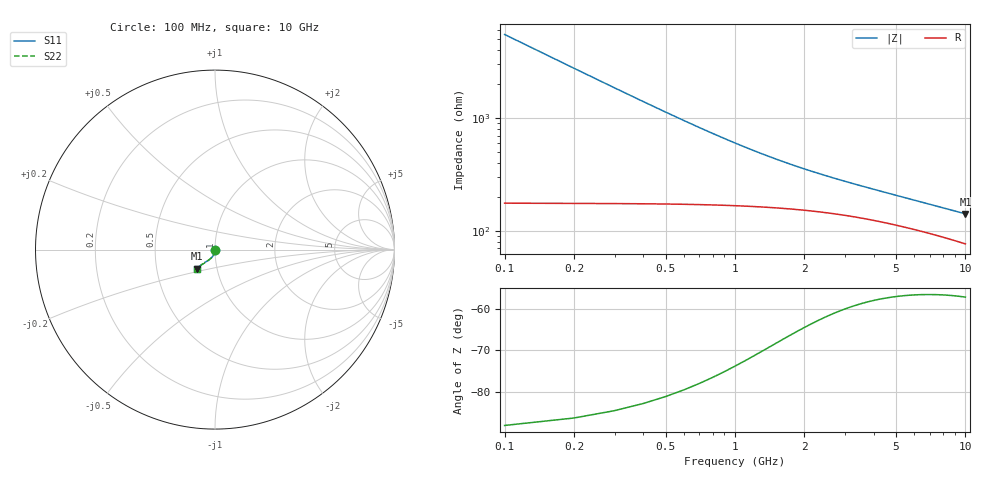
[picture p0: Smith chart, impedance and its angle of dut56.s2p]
! Touchstone file exported from HFSS 2024.1.0
!  File:  C:/UserFiles/LocalFiles/RDL_TSV_Batchsim/temp_TSV1_56_1778749066.aedt
!  Generated:  05:01:58 PM May 14, 2026
!  Design:  TSV1
!  Project:  temp_TSV1_56_1778749066
!  Setup:  Setup1
!  Solution:  Sweep
! Variables:
!  dtsv = 25.06um
!  hbump = 3um
!  htsv = 95.44um
!  lrdl = 252.1521522um
!  p = 40
!  p1 = 52.98um
!  t = 500um
!  trdl = 3um
!  wrdl = 24.89489489um
# GHz S MA R 50.000000
! Terminal data exported
! Port[1] = TSV22_T1
! Port[2] = TSV22_T2
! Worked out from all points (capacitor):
!   100 points, 100 MHz to 10 GHz, reference 50 ohm
!   read as one part in shunt: C = 288 fF near 100 MHz
!   lowest |Z| = 141 ohm at 10 GHz (marker M1)
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0.1  0.004262 -90.9  0.9998 -0.3  0.9998 -0.3  0.004262 -90.9
! Gamma 0 0 0 0
! Port Impedance 50 0 50 0
0.2  0.008497 -93.6  0.9993 -0.5  0.9993 -0.5  0.008497 -93.6
0.3  0.01268 -95.8  0.9985 -0.8  0.9985 -0.8  0.01268 -95.8
0.4  0.01679 -97.8  0.9974 -1.1  0.9974 -1.1  0.01679 -97.8
0.5  0.02081 -99.8  0.9961 -1.3  0.9961 -1.3  0.02081 -99.8
0.6  0.02472 -101.7  0.9946 -1.6  0.9946 -1.6  0.02472 -101.7
0.7  0.0285 -103.6  0.993 -1.8  0.993 -1.8  0.0285 -103.6
0.8  0.03214 -105.3  0.9912 -2.0  0.9912 -2.0  0.03214 -105.3
0.9  0.03564 -107.0  0.9893 -2.2  0.9893 -2.2  0.03564 -107.0
1.1  0.04219 -110.0  0.9854 -2.6  0.9854 -2.6  0.04219 -110.0
1.4  0.05093 -114.0  0.9794 -3.0  0.9794 -3.0  0.05093 -114.0
1.6  0.05609 -116.3  0.9755 -3.3  0.9755 -3.3  0.05609 -116.3
1.8  0.06077 -118.3  0.9718 -3.5  0.9718 -3.5  0.06077 -118.3
2.1  0.06705 -120.8  0.9666 -3.9  0.9666 -3.9  0.06705 -120.8
2.5  0.07432 -123.4  0.9604 -4.2  0.9604 -4.2  0.07432 -123.4
2.9  0.08067 -125.4  0.9548 -4.5  0.9548 -4.5  0.08067 -125.4
3.4  0.08769 -127.2  0.9488 -4.9  0.9488 -4.9  0.08769 -127.2
4.2  0.09751 -129.3  0.9406 -5.5  0.9406 -5.5  0.09751 -129.3
5.1  0.1072 -130.8  0.933 -6.0  0.933 -6.0  0.1072 -130.8
6.7  0.1221 -132.5  0.9218 -7.0  0.9218 -7.0  0.1221 -132.5
8.4  0.1359 -133.5  0.9122 -7.9  0.9122 -7.9  0.1359 -133.5
10  0.1476 -134.1  0.9046 -8.7  0.9046 -8.7  0.1476 -134.1
